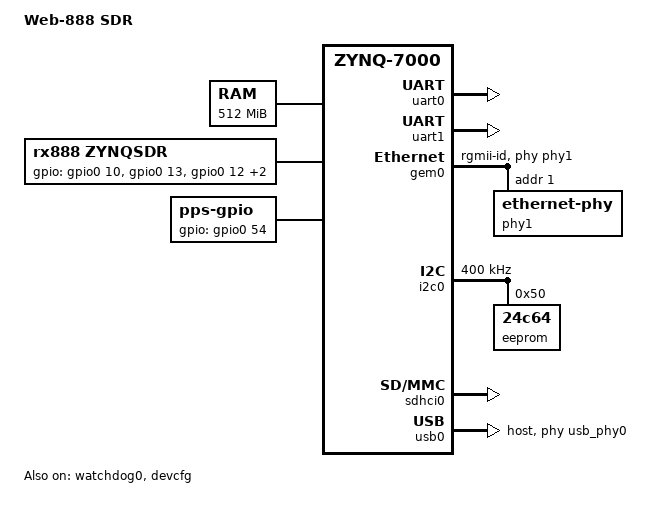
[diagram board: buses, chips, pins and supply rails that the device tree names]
// SPDX-License-Identifier: GPL-2.0
/*
 * Web-888 SDR (Zynq-7010) device tree — web888-debian step 1.
 *
 * Node facts verified against the stock DTB (docs/research/bootbin-repack-spec.md):
 *  - console = uart0 @ e0000000 (stock alias serial0), 115200 8N1
 *  - gem0 @ e000b000: rgmii-id, PHY @ addr 1, MAC from 24c64 EEPROM @0x10
 *    via nvmem fixed-layout cell (stock nvmem-cell-names "mac-address")
 *  - 24c64 EEPROM on i2c0 @0x50, size 0x2000, pagesize 0x20
 *  - sdhci0 @ e0100000 (TF card), 512 MiB RAM @ 0x0
 *  - ramoops: last 1 MiB (0x1FF00000) — survives warm reboot (decision 7)
 */
/dts-v1/;

#include "zynq-7000.dtsi"

/ {
	model = "Web-888 SDR";
	compatible = "rx888,web-888", "xlnx,zynq-7000";

	chosen {
		stdout-path = "serial0:115200n8";
	};

	aliases {
		serial0 = &uart0;
		serial1 = &uart1;
		ethernet0 = &gem0;
		i2c0 = &i2c0;
		mmc0 = &sdhci0;
	};

	memory@0 {
		device_type = "memory";
		reg = <0x0 0x20000000>;
	};

	reserved-memory {
		#address-cells = <1>;
		#size-cells = <1>;
		ranges;

		ramoops: ramoops@1ff00000 {
			compatible = "ramoops";
			reg = <0x1ff00000 0x100000>;
			record-size = <0x40000>;
			console-size = <0x40000>;
			ftrace-size = <0x40000>;
			pmsg-size = <0x20000>;
		};
	};
};

&uart0 {
	status = "okay";
};

/* UART1 = on-board GPS (ATGM336H, 9600 8N1). Stock enables it as ttyPS1;
 * gpsd opens /dev/ttyPS1. uart1 defaults to "disabled" in zynq-7000.dtsi.
 * The serial1 alias above is MANDATORY: without it xuartps assigns port id 0
 * (already taken by uart0) and probe fails with "uart_add_one_port() failed;
 * err=-22", leaving no /dev/ttyPS1. */
&uart1 {
	status = "okay";
};

&gem0 {
	status = "okay";
	phy-mode = "rgmii-id";
	phy-handle = <&phy1>;
	xlnx,ptp-enet-clock = <0x69f6bcb>;
	nvmem-cells = <&macaddr>;
	nvmem-cell-names = "mac-address";

	phy1: ethernet-phy@1 {
		reg = <1>;
	};
};

&i2c0 {
	status = "okay";
	clock-frequency = <400000>;

	eeprom@50 {
		compatible = "24c64";
		size = <0x2000>;
		pagesize = <0x20>;
		reg = <0x50>;

		nvmem-layout {
			compatible = "fixed-layout";
			#address-cells = <1>;
			#size-cells = <1>;

			macaddr: macaddr@10 {
				compatible = "mac-address";
				reg = <0x10 0x06>;
			};
		};
	};
};

&sdhci0 {
	status = "okay";
};

&watchdog0 {
	status = "okay";
};

/* USB host port. The board exposes a USB-A host connector driven by usb0
 * (MIO 28-39 USB0 controller) through a ULPI PHY. Mirrors the stock boot.bin
 * DTB: status okay + dr_mode host + the ulpi-phy platform node.
 * - "usb-phy" (not "phys") is the phandle the ci_hdrc_usb2 glue reads for
 *   compatible "xlnx,zynq-usb-2.20a" (drivers/usb/chipidea/ci_hdrc_usb2.c).
 * - phy0 aliases the USB0 ULPI viewport at offset 0x170 inside usb0's register
 *   file; external-drv-vbus makes the PHY drive 5V on VBUS (the modern name
 *   for stock's drv-vbus; phy-ulpi.c accepts both).
 * - stock's xlnx,phy-reset-gpio / usb-reset (gpio0 pin 48) are omitted: no
 *   driver in mainline reads them — they are dead legacy properties, and the
 *   ULPI PHY reset on this board is handled at power-up, not via GPIO. */
&usb0 {
	status = "okay";
	dr_mode = "host";
	usb-phy = <&usb_phy0>;
};

/* Step 2: PCAP char device /dev/xdevcfg (xilinx_devcfg module).
 * Mainline (≥6.12) zynq-7000.dtsi trimmed devcfg to ref_clk only; the xlnx
 * driver we build looks up fclk0-3 by name and silently skips the whole fclk
 * sysfs interface (websdr's PL clock control) when they are absent, so the
 * 2016.4 binding is reinstated here. clkc indices 15-18 = fclk0-3 per
 * Documentation/devicetree/bindings/clock/zynq-7000.txt (stable ABI). */
&devcfg {
	status = "okay";
	clocks = <&clkc 12>, <&clkc 15>, <&clkc 16>, <&clkc 17>, <&clkc 18>;
	clock-names = "ref_clk", "fclk0", "fclk1", "fclk2", "fclk3";
};

/ {
	/* Step 2: zynqsdr control/data node — mirrors the stock boot.bin
	 * DTB fragment (docs/zynqsdr-driver-spec.md §6.2). No reg property:
	 * the driver ioremaps the fixed PL register pages like stock. The
	 * 4 PL-PS IRQs (rising edge) are declared now; handlers arrive with
	 * the data plane. GPIO order is ABI (driver indexes the "gpios" array):
	 *   idx 0 = MIO 10  HF/VHF mode switch
	 *   idx 1 = MIO 13  DSA serial CLCK
	 *   idx 2 = MIO 12  DSA serial LTCH/LE
	 *   idx 3 = MIO 11  DSA serial DATA
	 *   idx 4 = MIO 49 external/internal clock select
	 * (Pin numbering: 0-53 = MIO 0-53; 54+ = EMIO 0+. So pin 49 is MIO 49,
	 * not EMIO 49 — an earlier comment here mislabeled it.)
	 * Flags are ACTIVE-HIGH (0): the stock DTB's 0x01 flags are inert —
	 * stock's driver uses legacy gpio_set_value() which IGNORES the
	 * ACTIVE_LOW flag, while our gpiod-based driver honours it, which
	 * physically inverted all 5 pins (root cause of the inverted-pin bug:
	 * MIO49 ended low = unconnected ext 10 MHz reference selected, so the
	 * Si5351 PLL never locked -> marginal ADC clock -> RX/WF dice rolls.
	 * Golden reference: stock boots with MIO49 physically HIGH.) */
	zynqsdr: zynqsdr {
		compatible = "rx888,zynqsdr";
		interrupt-parent = <&intc>;
		interrupts = <0 29 1>, <0 30 1>, <0 31 1>, <0 32 1>;
		gpios = <&gpio0 10 0>, <&gpio0 13 0>, <&gpio0 12 0>,
			<&gpio0 11 0>, <&gpio0 49 0>;
	};

	/* GPS 1PPS input. Mirrors the stock boot.bin DTB fragment: the
	 * ATGM336H PPS line is routed to EMIO[0] (gpio pin 54; pins 0-53
	 * are MIO 0-53, 54+ are EMIO). pps-gpio.ko (CONFIG_PPS_CLIENT_GPIO)
	 * auto-probes this node → /dev/pps0, which gpsd feeds to chrony.
	 * capture-clear matches stock (the pulse's trailing edge is the
	 * clean reference). gpio0 always exposes EMIO pins on Zynq — the
	 * stock "emio-gpio-width" property is a legacy no-op in this driver
	 * and intentionally omitted here. */
	pps {
		compatible = "pps-gpio";
		gpios = <&gpio0 54 0>;
		capture-clear;
	};

	/* ULPI PHY for usb0 (see &usb0 above). Same shape as every Zynq
	 * reference board (zynq-zc702/zed/zybo): aliases the usb0 register
	 * file and its ULPI viewport at offset 0x170. */
	usb_phy0: phy0@e0002000 {
		compatible = "ulpi-phy";
		#phy-cells = <0>;
		reg = <0xe0002000 0x1000>;
		view-port = <0x0170>;
		external-drv-vbus;
	};
};

#ifdef BOOTARGS
/ {
	chosen {
		bootargs = BOOTARGS;
	};
};
#endif
